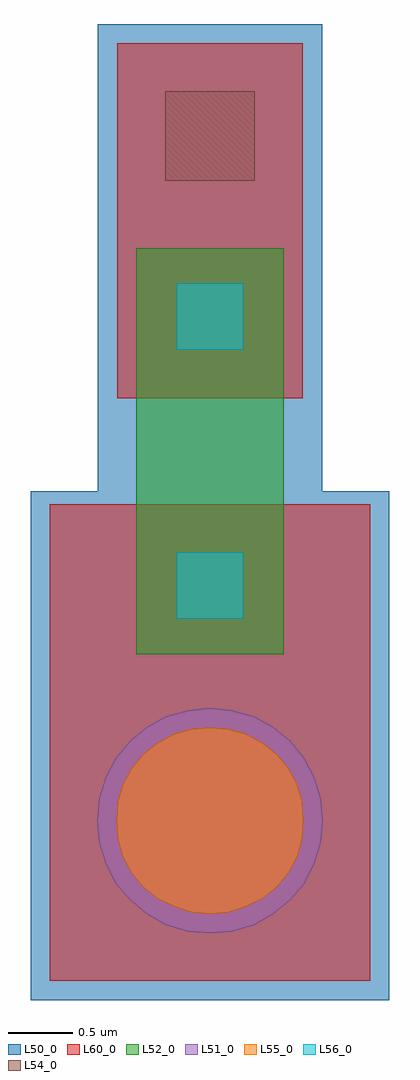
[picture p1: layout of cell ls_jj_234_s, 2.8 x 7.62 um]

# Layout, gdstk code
import gdstk
lib = gdstk.Library(unit=1e-6, precision=1e-09)
def R(c, l, rs):  # rectangles x0, y0, x1, y1
    for r in rs: c.add(gdstk.rectangle(r[:2], r[2:], *l))
def P(c, l, *ps):  # polygons
    for p in ps: c.add(gdstk.Polygon(p, *l))
L50_0 = (50, 0)
L51_0 = (51, 0)
L52_0 = (52, 0)
L54_0 = (54, 0)
L55_0 = (55, 0)
L56_0 = (56, 0)
L60_0 = (60, 0)

ls_jj_234_s = lib.new_cell('ls_jj_234_s')
R(ls_jj_234_s, L50_0, [(-1.4,-1.4,1.4,2.575), (-0.875,2.575,0.875,6.225)])
P(ls_jj_234_s, L51_0, [(0,-0.88),(0.17,-0.865),(0.34,-0.815),(0.49,-0.73),(0.625,-0.62),(0.735,-0.49),(0.815,-0.335),(0.865,-0.17),(0.88,0),(0.865,0.175),(0.815,0.34),(0.735,0.49),(0.625,0.625),(0.49,0.735),(0.34,0.815),(0.17,0.865),(0,0.885),(-0.17,0.865),(-0.34,0.815),(-0.49,0.735),(-0.625,0.625),(-0.735,0.49),(-0.815,0.34),(-0.865,0.175),(-0.88,0),(-0.865,-0.17),(-0.815,-0.335),(-0.735,-0.49),(-0.625,-0.62),(-0.49,-0.73),(-0.34,-0.815),(-0.17,-0.865)])
R(ls_jj_234_s, L52_0, [(-0.575,1.3,0.575,4.475)])
R(ls_jj_234_s, L54_0, [(-0.35,5,0.35,5.7)])
P(ls_jj_234_s, L55_0, [(0,-0.73),(0.14,-0.72),(0.28,-0.67),(0.41,-0.61),(0.52,-0.52),(0.61,-0.41),(0.68,-0.28),(0.72,-0.14),(0.73,0),(0.72,0.15),(0.68,0.28),(0.61,0.41),(0.52,0.52),(0.41,0.61),(0.28,0.68),(0.14,0.72),(0,0.73),(-0.14,0.72),(-0.28,0.68),(-0.41,0.61),(-0.52,0.52),(-0.61,0.41),(-0.68,0.28),(-0.72,0.15),(-0.73,0),(-0.72,-0.14),(-0.68,-0.28),(-0.61,-0.41),(-0.52,-0.52),(-0.41,-0.61),(-0.28,-0.67),(-0.14,-0.72)])
R(ls_jj_234_s, L56_0, [(-0.26,1.58,0.26,2.1), (-0.26,3.68,0.26,4.2)])
R(ls_jj_234_s, L60_0, [(-1.25,-1.25,1.25,2.475), (-0.725,3.3,0.725,6.075)])

lib.write_gds('ls_jj_234_s.gds')
